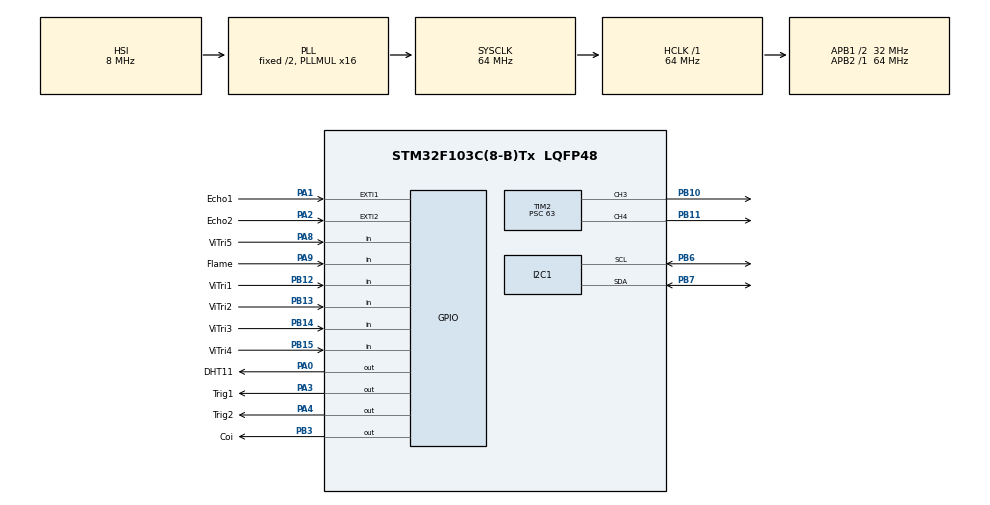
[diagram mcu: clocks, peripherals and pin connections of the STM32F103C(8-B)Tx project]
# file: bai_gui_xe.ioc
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FREERTOS.Tasks01=defaultTask,0,128,StartDefaultTask,Default,NULL,Dynamic,NULL,NULL
Mcu.Family=STM32F1
Mcu.Name=STM32F103C(8-B)Tx
Mcu.Package=LQFP48
NVIC.EXTI1_IRQn=true\:6\:0\:true\:false\:true\:false\:true\:true
NVIC.EXTI2_IRQn=true\:6\:0\:true\:false\:true\:false\:true\:true
NVIC.PriorityGroup=NVIC_PRIORITYGROUP_4
NVIC.TIM4_IRQn=true\:15\:0\:false\:false\:true\:false\:false\:true
NVIC.TimeBase=TIM4_IRQn
NVIC.TimeBaseIP=TIM4
PA0-WKUP.GPIO_Label=DHT11
PA0-WKUP.Signal=GPIO_Output
PA1.GPIO_Label=Echo1
PA1.GPIO_ModeDefaultEXTI=GPIO_MODE_IT_RISING_FALLING
PA1.GPIO_PuPd=GPIO_PULLUP
PA1.Signal=GPXTI1
PA13.Mode=Serial_Wire
PA13.Signal=SYS_JTMS-SWDIO
PA14.Mode=Serial_Wire
PA14.Signal=SYS_JTCK-SWCLK
PA2.GPIO_Label=Echo2
PA2.GPIO_ModeDefaultEXTI=GPIO_MODE_IT_RISING_FALLING
PA2.GPIO_PuPd=GPIO_PULLUP
PA2.Signal=GPXTI2
PA3.GPIO_Label=Trig1
PA3.Signal=GPIO_Output
PA4.GPIO_Label=Trig2
PA4.Signal=GPIO_Output
PA8.GPIO_Label=ViTri5
PA8.GPIO_PuPd=GPIO_PULLUP
PA8.Signal=GPIO_Input
PA9.GPIO_Label=Flame
PA9.GPIO_PuPd=GPIO_PULLUP
PA9.Signal=GPIO_Input
PB10.Signal=S_TIM2_CH3
PB11.Signal=S_TIM2_CH4
PB12.GPIO_Label=ViTri1
PB12.GPIO_PuPd=GPIO_PULLUP
PB12.Signal=GPIO_Input
PB13.GPIO_Label=ViTri2
PB13.GPIO_PuPd=GPIO_PULLUP
PB13.Signal=GPIO_Input
PB14.GPIO_Label=ViTri3
PB14.GPIO_PuPd=GPIO_PULLUP
PB14.Signal=GPIO_Input
PB15.GPIO_Label=ViTri4
PB15.GPIO_PuPd=GPIO_PULLUP
PB15.Signal=GPIO_Input
PB3.GPIO_Label=Coi
PB3.Signal=GPIO_Output
PB6.Mode=I2C
PB6.Signal=I2C1_SCL
PB7.Mode=I2C
PB7.Signal=I2C1_SDA
ProjectManager.HeapSize=0x200
ProjectManager.StackSize=0x400
ProjectManager.TargetToolchain=MDK-ARM V5.32
RCC.AHBFreq_Value=64000000
RCC.APB1CLKDivider=RCC_HCLK_DIV2
RCC.APB1Freq_Value=32000000
RCC.APB1TimFreq_Value=64000000
RCC.APB2Freq_Value=64000000
RCC.APB2TimFreq_Value=64000000
RCC.HCLKFreq_Value=64000000
RCC.PLLMUL=RCC_PLL_MUL16
RCC.SYSCLKFreq_VALUE=64000000
RCC.SYSCLKSource=RCC_SYSCLKSOURCE_PLLCLK
RCC.USBFreq_Value=64000000
SH.S_TIM2_CH3.0=TIM2_CH3,PWM Generation3 CH3
SH.S_TIM2_CH4.0=TIM2_CH4,PWM Generation4 CH4
TIM2.Channel-PWM\ Generation3\ CH3=TIM_CHANNEL_3
TIM2.Channel-PWM\ Generation4\ CH4=TIM_CHANNEL_4
TIM2.Period=19999
TIM2.Prescaler=63
VP_FREERTOS_VS_CMSIS_V1.Mode=CMSIS_V1
VP_SYS_VS_tim4.Mode=TIM4
VP_TIM2_VS_ClockSourceINT.Mode=Internal
board=custom

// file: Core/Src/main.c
/* USER CODE BEGIN Header */
/**
  ******************************************************************************
  * @file           : main.c
  * @brief          : Main program body
  ******************************************************************************
  * @attention
  *
  * <h2><center>&copy; Copyright (c) 2023 STMicroelectronics.
  * All rights reserved.</center></h2>
  *
  * This software component is licensed by ST under Ultimate Liberty license
  * SLA0044, the "License"; You may not use this file except in compliance with
  * the License. You may obtain a copy of the License at:
  *                             www.st.com/SLA0044
  *
  ******************************************************************************
  */
/* USER CODE END Header */
#include "main.h"
#include "cmsis_os.h"

/* USER CODE BEGIN Includes */
#include "dht11.h"
#include "hr04.h"
#include "Servo.h"
#include "Util.h"
#include "LiquidCrystal_I2C.h"
#include "stdbool.h"
#include "MyDelay.h"
/* USER CODE END Includes */

I2C_HandleTypeDef hi2c1;

TIM_HandleTypeDef htim2;

osThreadId defaultTaskHandle;
/* USER CODE BEGIN PV */
osThreadId task2_Handle;
/* USER CODE END PV */

void SystemClock_Config(void);
static void MX_GPIO_Init(void);
static void MX_I2C1_Init(void);
static void MX_TIM2_Init(void);
void StartDefaultTask(void const * argument);

/* USER CODE BEGIN PFP */
void Task2(void const *parameter);
/* USER CODE END PFP */

/* USER CODE BEGIN 0 */
//void delay_us(uint16_t us)
//{
//	uint16_t differ=0xffff-us-5;
//	__HAL_TIM_SET_COUNTER(&htim1,differ);
//	HAL_TIM_Base_Start(&htim1);
//	while(differ<0xffff-6)
//  {
//    differ=__HAL_TIM_GET_COUNTER(&htim1);
//  }
//  HAL_TIM_Base_Stop(&htim1);
//}

/* USER CODE END 0 */

int main(void)
{

  /* MCU Configuration--------------------------------------------------------*/

  /* Reset of all peripherals, Initializes the Flash interface and the Systick. */
  HAL_Init();

  /* Configure the system clock */
  SystemClock_Config();

  /* Initialize all configured peripherals */
  MX_GPIO_Init();
  MX_I2C1_Init();
  MX_TIM2_Init();
  /* USER CODE BEGIN 2 */
	delay_init();
  /* USER CODE END 2 */

  /* Create the thread(s) */
  /* definition and creation of defaultTask */
  osThreadDef(defaultTask, StartDefaultTask, osPriorityNormal, 0, 128);
  defaultTaskHandle = osThreadCreate(osThread(defaultTask), NULL);

  /* USER CODE BEGIN RTOS_THREADS */
	osThreadDef(task2Handle, Task2, osPriorityAboveNormal, 0, 128);
  task2_Handle = osThreadCreate(osThread(task2Handle), NULL);
  /* add threads, ... */
  /* USER CODE END RTOS_THREADS */

  /* Start scheduler */
  osKernelStart();

  /* We should never get here as control is now taken by the scheduler */
  /* Infinite loop */
  while (1)
  {

  }
}

void SystemClock_Config(void)
{
  RCC_OscInitTypeDef RCC_OscInitStruct = {0};
  RCC_ClkInitTypeDef RCC_ClkInitStruct = {0};

  /** Initializes the RCC Oscillators according to the specified parameters
  * in the RCC_OscInitTypeDef structure.
  */
  RCC_OscInitStruct.OscillatorType = RCC_OSCILLATORTYPE_HSI;
  RCC_OscInitStruct.HSIState = RCC_HSI_ON;
  RCC_OscInitStruct.HSICalibrationValue = RCC_HSICALIBRATION_DEFAULT;
  RCC_OscInitStruct.PLL.PLLState = RCC_PLL_ON;
  RCC_OscInitStruct.PLL.PLLSource = RCC_PLLSOURCE_HSI_DIV2;
  RCC_OscInitStruct.PLL.PLLMUL = RCC_PLL_MUL16;
  if (HAL_RCC_OscConfig(&RCC_OscInitStruct) != HAL_OK)
  {
    Error_Handler();
  }
  /** Initializes the CPU, AHB and APB buses clocks
  */
  RCC_ClkInitStruct.ClockType = RCC_CLOCKTYPE_HCLK|RCC_CLOCKTYPE_SYSCLK
                              |RCC_CLOCKTYPE_PCLK1|RCC_CLOCKTYPE_PCLK2;
  RCC_ClkInitStruct.SYSCLKSource = RCC_SYSCLKSOURCE_PLLCLK;
  RCC_ClkInitStruct.AHBCLKDivider = RCC_SYSCLK_DIV1;
  RCC_ClkInitStruct.APB1CLKDivider = RCC_HCLK_DIV2;
  RCC_ClkInitStruct.APB2CLKDivider = RCC_HCLK_DIV1;

  if (HAL_RCC_ClockConfig(&RCC_ClkInitStruct, FLASH_LATENCY_2) != HAL_OK)
  {
    Error_Handler();
  }
}

static void MX_I2C1_Init(void)
{

  hi2c1.Instance = I2C1;
  hi2c1.Init.ClockSpeed = 100000;
  hi2c1.Init.DutyCycle = I2C_DUTYCYCLE_2;
  hi2c1.Init.OwnAddress1 = 0;
  hi2c1.Init.AddressingMode = I2C_ADDRESSINGMODE_7BIT;
  hi2c1.Init.DualAddressMode = I2C_DUALADDRESS_DISABLE;
  hi2c1.Init.OwnAddress2 = 0;
  hi2c1.Init.GeneralCallMode = I2C_GENERALCALL_DISABLE;
  hi2c1.Init.NoStretchMode = I2C_NOSTRETCH_DISABLE;
  if (HAL_I2C_Init(&hi2c1) != HAL_OK)
  {
    Error_Handler();
  }

}

static void MX_TIM2_Init(void)
{

  TIM_ClockConfigTypeDef sClockSourceConfig = {0};
  TIM_MasterConfigTypeDef sMasterConfig = {0};
  TIM_OC_InitTypeDef sConfigOC = {0};

  htim2.Instance = TIM2;
  htim2.Init.Prescaler = 63;
  htim2.Init.CounterMode = TIM_COUNTERMODE_UP;
  htim2.Init.Period = 19999;
  htim2.Init.ClockDivision = TIM_CLOCKDIVISION_DIV1;
  htim2.Init.AutoReloadPreload = TIM_AUTORELOAD_PRELOAD_DISABLE;
  if (HAL_TIM_Base_Init(&htim2) != HAL_OK)
  {
    Error_Handler();
  }
  sClockSourceConfig.ClockSource = TIM_CLOCKSOURCE_INTERNAL;
  if (HAL_TIM_ConfigClockSource(&htim2, &sClockSourceConfig) != HAL_OK)
  {
    Error_Handler();
  }
  if (HAL_TIM_PWM_Init(&htim2) != HAL_OK)
  {
    Error_Handler();
  }
  sMasterConfig.MasterOutputTrigger = TIM_TRGO_RESET;
  sMasterConfig.MasterSlaveMode = TIM_MASTERSLAVEMODE_DISABLE;
  if (HAL_TIMEx_MasterConfigSynchronization(&htim2, &sMasterConfig) != HAL_OK)
  {
    Error_Handler();
  }
  sConfigOC.OCMode = TIM_OCMODE_PWM1;
  sConfigOC.Pulse = 0;
  sConfigOC.OCPolarity = TIM_OCPOLARITY_HIGH;
  sConfigOC.OCFastMode = TIM_OCFAST_DISABLE;
  if (HAL_TIM_PWM_ConfigChannel(&htim2, &sConfigOC, TIM_CHANNEL_3) != HAL_OK)
  {
    Error_Handler();
  }
  if (HAL_TIM_PWM_ConfigChannel(&htim2, &sConfigOC, TIM_CHANNEL_4) != HAL_OK)
  {
    Error_Handler();
  }
  HAL_TIM_MspPostInit(&htim2);

}

static void MX_GPIO_Init(void)
{
  GPIO_InitTypeDef GPIO_InitStruct = {0};

  /* GPIO Ports Clock Enable */
  __HAL_RCC_GPIOA_CLK_ENABLE();
  __HAL_RCC_GPIOB_CLK_ENABLE();

  /*Configure GPIO pin Output Level */
  HAL_GPIO_WritePin(GPIOA, DHT11_Pin|Trig1_Pin|Trig2_Pin, GPIO_PIN_RESET);

  /*Configure GPIO pin Output Level */
  HAL_GPIO_WritePin(Coi_GPIO_Port, Coi_Pin, GPIO_PIN_RESET);

  /*Configure GPIO pins : DHT11_Pin Trig1_Pin Trig2_Pin */
  GPIO_InitStruct.Pin = DHT11_Pin|Trig1_Pin|Trig2_Pin;
  GPIO_InitStruct.Mode = GPIO_MODE_OUTPUT_PP;
  GPIO_InitStruct.Pull = GPIO_NOPULL;
  GPIO_InitStruct.Speed = GPIO_SPEED_FREQ_LOW;
  HAL_GPIO_Init(GPIOA, &GPIO_InitStruct);

  /*Configure GPIO pins : Echo1_Pin Echo2_Pin */
  GPIO_InitStruct.Pin = Echo1_Pin|Echo2_Pin;
  GPIO_InitStruct.Mode = GPIO_MODE_IT_RISING_FALLING;
  GPIO_InitStruct.Pull = GPIO_PULLUP;
  HAL_GPIO_Init(GPIOA, &GPIO_InitStruct);

  /*Configure GPIO pins : ViTri1_Pin ViTri2_Pin ViTri3_Pin ViTri4_Pin */
  GPIO_InitStruct.Pin = ViTri1_Pin|ViTri2_Pin|ViTri3_Pin|ViTri4_Pin;
  GPIO_InitStruct.Mode = GPIO_MODE_INPUT;
  GPIO_InitStruct.Pull = GPIO_PULLUP;
  HAL_GPIO_Init(GPIOB, &GPIO_InitStruct);

  /*Configure GPIO pins : ViTri5_Pin Flame_Pin */
  GPIO_InitStruct.Pin = ViTri5_Pin|Flame_Pin;
  GPIO_InitStruct.Mode = GPIO_MODE_INPUT;
  GPIO_InitStruct.Pull = GPIO_PULLUP;
  HAL_GPIO_Init(GPIOA, &GPIO_InitStruct);

  /*Configure GPIO pin : Coi_Pin */
  GPIO_InitStruct.Pin = Coi_Pin;
  GPIO_InitStruct.Mode = GPIO_MODE_OUTPUT_PP;
  GPIO_InitStruct.Pull = GPIO_NOPULL;
  GPIO_InitStruct.Speed = GPIO_SPEED_FREQ_LOW;
  HAL_GPIO_Init(Coi_GPIO_Port, &GPIO_InitStruct);

  /* EXTI interrupt init*/
  HAL_NVIC_SetPriority(EXTI1_IRQn, 6, 0);
  HAL_NVIC_EnableIRQ(EXTI1_IRQn);

  HAL_NVIC_SetPriority(EXTI2_IRQn, 6, 0);
  HAL_NVIC_EnableIRQ(EXTI2_IRQn);

}

/* USER CODE BEGIN 4 */
float hr04_1 = 0;
float hr04_2 = 0;

void Task2(void const *parameter)
{
	for(;;)
  {
		hr04_1 = hr04_getDistance1();
		hr04_2 =  hr04_getDistance2();
    osDelay(500);
  }
}
/* USER CODE END 4 */

void StartDefaultTask(void const * argument)
{
  for(;;)
  {
    osDelay(1);
  }
}

void HAL_TIM_PeriodElapsedCallback(TIM_HandleTypeDef *htim)
{
  if (htim->Instance == TIM4) {
    HAL_IncTick();
  }
}

void Error_Handler(void)
{
  __disable_irq();
  while (1)
  {
  }
}

/************************ (C) COPYRIGHT STMicroelectronics *****END OF FILE****/
